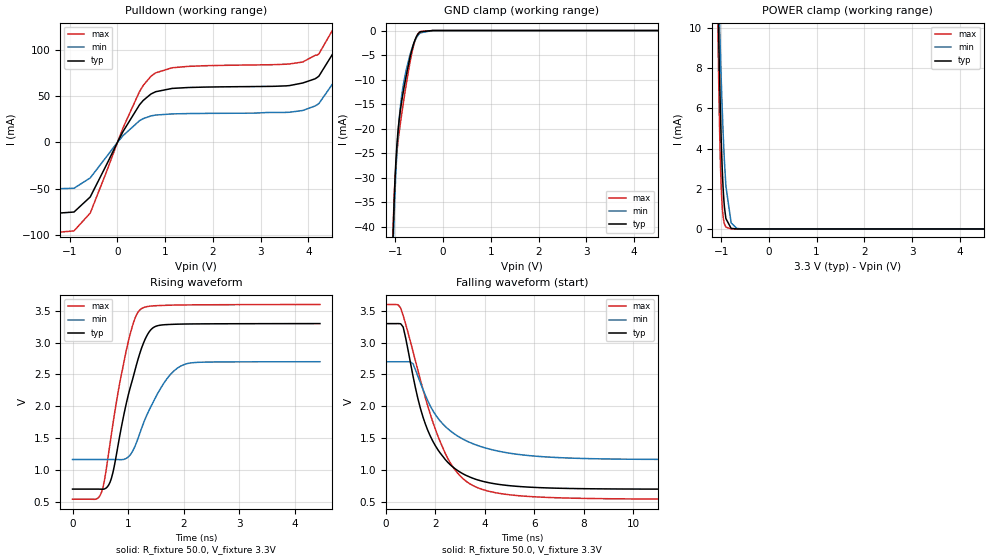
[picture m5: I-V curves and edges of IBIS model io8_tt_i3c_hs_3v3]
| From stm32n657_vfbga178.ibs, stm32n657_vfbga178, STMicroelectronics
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[Model]   io8_tt_i3c_hs_3v3
Model_type I/O_open_drain
Polarity   Non-Inverting
Enable   Active-Low
| CAP_THRESHOLD on pad IOTT is "UDTCAPC" :
| Rising=30.0% of vddiov33m   Falling=70.0% of vddiov33m
| C_comp min and max val. don't necessarily correlate with the min and max pvt
| but are the smallest and greatest pad capacitance found.
| var   typ   min   max
C_comp   1.30235pF  1.06404pF  2.26695pF
|C_comp_pulldown   1.30235pF  1.06404pF  2.26695pF
Vinl = 1.35V
Vinh = 1.8V
Vmeas = 1.65V   | Reference voltage for timing measurements
Cref  = 50.0pF   | Timing specification test load capacitance value
Rref  = 1.0MOhm   | Timing specification test load resistance value
Vref  = 1.815V   | Timing specification test load voltage
[Model Spec]
| TIME_THRESHOLD on pin ZIV08M is "CMOS" :
| Rising=50.0% of vddv08m   Falling=50.0% of vddv08m
Vinl 1.08570V 868.70000mV 1.21270V
Vinh 1.55630V 1.26330V 1.71030V
| variable   typ   min   max
[Temperature Range] 25.0 125.0 -40.0
| variable   typ   min   max
[Voltage Range] 3.3V 2.7V 3.6V
| variable   typ   min   max
[POWER Clamp Reference] 3.3V 2.7V 3.6V
| variable   typ   min   max
[GND Clamp Reference] 0V 0V 0V
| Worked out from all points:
|   slope of the pulldown table from 0 to 0.495 V, typ, clamps not added: 11.6 ohm
|   GND clamp passes 1 mA (typ) near -0.55 V on its own axis
|   POWER clamp passes 1 mA (typ) near -0.93 V on its own axis
|   rising waveform, R_fixture 50.0, V_fixture 3.3V: 20-80 % time 407ps typ, 498ps min, 365ps max; typ from 0.695 V to 3.3 V
|   falling waveform, R_fixture 50.0, V_fixture 3.3V: 20-80 % time 1.35ns typ, 1.82ns min, 1.54ns max; typ from 3.3 V to 0.695 V
[POWER Clamp]
-3.3V     1.353A     318.4mA    2.015A
-1.07V    12.07mA    13.62mA    10.38mA
-1.06V    10.79mA    12.67mA    8.742mA
-1.05V    9.57mA     11.75mA    7.25mA
-1.03V    7.34mA     9.996mA    4.745mA
-1V       4.587mA    7.593mA    2.212mA
-980mV    3.182mA    6.169mA    1.235mA
-950mV    1.703mA    4.334mA    479uA
-900mV    514.6uA    2.139mA    90.78uA
-790mV    28.73uA    299.8uA    2.713uA
-670mV    1.278uA    27.48uA    388.8nA
6.6V      0A         0A         0A
[GND Clamp]
-3.3V     -3.772A    -3.743A    -3.788A
-1.05V    -42.34mA   -45.44mA   -41.2mA
-1.04V    -38.9mA    -42mA      -37.88mA
-1.03V    -35.84mA   -38.88mA   -35.06mA
-1V       -28.57mA   -31.07mA   -28.88mA
-970mV    -23.48mA   -25.09mA   -24.97mA
-920mV    -18.07mA   -17.99mA   -20.63mA
-860mV    -13.91mA   -12.68mA   -16.46mA
-770mV    -9.031mA   -7.879mA   -10.78mA
-640mV    -3.394mA   -3.285mA   -3.897mA
-480mV    -254.3uA   -469.3uA   -191.8uA
6.6V      220.4nA    5.137uA    223.2nA
| variable   typ   min   max
[Pullup Reference] 3.3V 2.7V 3.6V
| variable   typ   min   max
[Pulldown Reference] 0V 0V 0V
[Pulldown]
-3.3V     -76.59mA   -50.19mA   -97.29mA
-910mV    -75.37mA   -49.66mA   -95.8mA
-570mV    -59.08mA   -38.48mA   -76.52mA
120mV     12mA       7.376mA    15.98mA
460mV     40.46mA    23.32mA    54.73mA
800mV     54.75mA    29.51mA    75.15mA
1.48V     59.3mA     31.12mA    82.16mA
3.88V     64.18mA    34.44mA    86.87mA
4.22V     71.69mA    42.05mA    95.8mA
4.56V     99.99mA    67.27mA    126.4mA
4.9V      185.2mA    140.4mA    220.4mA
6.6V      1.447A     1.603A     1.41A
[Ramp]
dV/dt_r 1.56183V/406.72674ps 922.56807mV/497.92467ps 1.83752V/364.91769ps
dV/dt_f 1.56279V/1.34494ns 923.47202mV/1.81621ns 1.83839V/1.53379ns
R_load = 50.0
| Removed startup time: 0s 0s 0s  .
| Removed end time: 4.45ns.
[Rising Waveform]
R_fixture   = 50.0
V_fixture   = 3.3V
V_fixture_min = 2.7V
V_fixture_max = 3.6V
0s        695.3mV    1.161V     536mV
525ps     693.6mV    1.161V     654.2mV
700ps     867.1mV    1.161V     1.563V
975ps     2.074V     1.183V     2.908V
1.1ns     2.486V     1.324V     3.322V
1.225ns   2.87V      1.61V      3.524V
1.45ns    3.233V     2.062V     3.577V
1.725ns   3.284V     2.461V     3.587V
2ns       3.291V     2.652V     3.592V
4.45ns    3.298V     2.698V     3.599V
| Removed startup time: 0s 0s 0s  .
| Removed end time: 24.9ns.
[Falling Waveform]
R_fixture   = 50.0
V_fixture   = 3.3V
V_fixture_min = 2.7V
V_fixture_max = 3.6V
0s        3.3V       2.7V       3.6V
500ps     3.301V     2.7V       3.596V
700ps     3.246V     2.7V       3.425V
1.1ns     2.47V      2.667V     2.857V
1.4ns     1.962V     2.363V     2.41V
2ns       1.379V     1.869V     1.639V
2.8ns     1.016V     1.557V     996.6mV
3.9ns     820.9mV    1.358V     691.8mV
8.3ns     702.1mV    1.176V     548.9mV
24.9ns    695.3mV    1.161V     536mV
